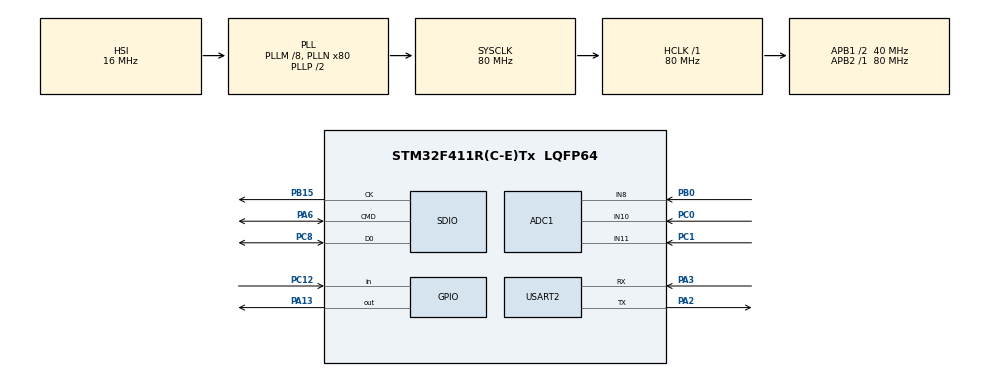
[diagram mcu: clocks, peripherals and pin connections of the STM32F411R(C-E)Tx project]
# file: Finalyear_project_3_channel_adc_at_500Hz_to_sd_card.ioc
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ADC1.Channel-2\#ChannelRegularConversion=ADC_CHANNEL_10
ADC1.Channel-3\#ChannelRegularConversion=ADC_CHANNEL_11
ADC1.Channel-4\#ChannelRegularConversion=ADC_CHANNEL_8
ADC1.ClockPrescaler=ADC_CLOCK_SYNC_PCLK_DIV4
ADC1.DMAContinuousRequests=ENABLE
ADC1.EOCSelection=ADC_EOC_SEQ_CONV
ADC1.ExternalTrigConv=ADC_EXTERNALTRIGCONV_T3_TRGO
ADC1.NbrOfConversion=3
ADC1.NbrOfConversionFlag=1
ADC1.Rank-2\#ChannelRegularConversion=1
ADC1.Rank-3\#ChannelRegularConversion=2
ADC1.Rank-4\#ChannelRegularConversion=3
ADC1.SamplingTime-2\#ChannelRegularConversion=ADC_SAMPLETIME_3CYCLES
ADC1.SamplingTime-3\#ChannelRegularConversion=ADC_SAMPLETIME_3CYCLES
ADC1.SamplingTime-4\#ChannelRegularConversion=ADC_SAMPLETIME_3CYCLES
ADC1.ScanConvMode=ENABLE
ADC1.master=1
Dma.ADC1.0.Direction=DMA_PERIPH_TO_MEMORY
Dma.ADC1.0.FIFOMode=DMA_FIFOMODE_DISABLE
Dma.ADC1.0.Instance=DMA2_Stream0
Dma.ADC1.0.MemDataAlignment=DMA_MDATAALIGN_HALFWORD
Dma.ADC1.0.MemInc=DMA_MINC_ENABLE
Dma.ADC1.0.Mode=DMA_CIRCULAR
Dma.ADC1.0.PeriphDataAlignment=DMA_PDATAALIGN_HALFWORD
Dma.ADC1.0.PeriphInc=DMA_PINC_DISABLE
Dma.ADC1.0.Priority=DMA_PRIORITY_LOW
Dma.Request0=ADC1
Dma.Request1=SDIO_TX
Dma.Request2=SDIO_RX
Dma.SDIO_RX.2.Direction=DMA_PERIPH_TO_MEMORY
Dma.SDIO_RX.2.FIFOMode=DMA_FIFOMODE_ENABLE
Dma.SDIO_RX.2.FIFOThreshold=DMA_FIFO_THRESHOLD_FULL
Dma.SDIO_RX.2.Instance=DMA2_Stream6
Dma.SDIO_RX.2.MemBurst=DMA_MBURST_INC4
Dma.SDIO_RX.2.MemDataAlignment=DMA_MDATAALIGN_WORD
Dma.SDIO_RX.2.MemInc=DMA_MINC_ENABLE
Dma.SDIO_RX.2.Mode=DMA_PFCTRL
Dma.SDIO_RX.2.PeriphBurst=DMA_PBURST_INC4
Dma.SDIO_RX.2.PeriphDataAlignment=DMA_PDATAALIGN_WORD
Dma.SDIO_RX.2.PeriphInc=DMA_PINC_DISABLE
Dma.SDIO_RX.2.Priority=DMA_PRIORITY_LOW
Dma.SDIO_TX.1.Direction=DMA_MEMORY_TO_PERIPH
Dma.SDIO_TX.1.FIFOMode=DMA_FIFOMODE_ENABLE
Dma.SDIO_TX.1.FIFOThreshold=DMA_FIFO_THRESHOLD_FULL
Dma.SDIO_TX.1.Instance=DMA2_Stream3
Dma.SDIO_TX.1.MemBurst=DMA_MBURST_INC4
Dma.SDIO_TX.1.MemDataAlignment=DMA_MDATAALIGN_WORD
Dma.SDIO_TX.1.MemInc=DMA_MINC_ENABLE
Dma.SDIO_TX.1.Mode=DMA_PFCTRL
Dma.SDIO_TX.1.PeriphBurst=DMA_PBURST_INC4
Dma.SDIO_TX.1.PeriphDataAlignment=DMA_PDATAALIGN_WORD
Dma.SDIO_TX.1.PeriphInc=DMA_PINC_DISABLE
Dma.SDIO_TX.1.Priority=DMA_PRIORITY_LOW
FATFS.BSP.number=1
FATFS._FS_LOCK=3
FATFS._MAX_SS=4096
FATFS._USE_LFN=3
FATFS0.BSP.STBoard=false
FATFS0.BSP.api=Unknown
FATFS0.BSP.instance=PC12
FATFS0.BSP.ip=GPIO
FATFS0.BSP.mode=Input
FATFS0.BSP.name=Detect_SDIO
FATFS0.BSP.solution=PC12
Mcu.Family=STM32F4
Mcu.Name=STM32F411R(C-E)Tx
Mcu.Package=LQFP64
NVIC.ADC_IRQn=true\:0\:0\:false\:false\:true\:true\:true\:true
NVIC.DMA2_Stream0_IRQn=true\:0\:0\:false\:false\:true\:false\:true\:true
NVIC.DMA2_Stream3_IRQn=true\:0\:0\:false\:false\:true\:false\:true\:true
NVIC.DMA2_Stream6_IRQn=true\:0\:0\:false\:false\:true\:false\:true\:true
NVIC.PriorityGroup=NVIC_PRIORITYGROUP_4
NVIC.SDIO_IRQn=true\:0\:0\:false\:false\:true\:true\:true\:true
NVIC.TIM3_IRQn=true\:0\:0\:false\:false\:true\:true\:true\:true
PA13.Signal=GPIO_Output
PA2.Mode=Asynchronous
PA2.Signal=USART2_TX
PA3.Mode=Asynchronous
PA3.Signal=USART2_RX
PA6.Mode=SD_1_bit
PA6.Signal=SDIO_CMD
PB0.Signal=ADCx_IN8
PB15.Mode=SD_1_bit
PB15.Signal=SDIO_CK
PC0.Signal=ADCx_IN10
PC1.Signal=ADCx_IN11
PC12.Signal=GPIO_Input
PC8.Mode=SD_1_bit
PC8.Signal=SDIO_D0
ProjectManager.HeapSize=0x200
ProjectManager.StackSize=0x400
ProjectManager.TargetToolchain=STM32CubeIDE
RCC.48MHZClocksFreq_Value=40000000
RCC.AHBFreq_Value=80000000
RCC.APB1CLKDivider=RCC_HCLK_DIV2
RCC.APB1Freq_Value=40000000
RCC.APB1TimFreq_Value=80000000
RCC.APB2Freq_Value=80000000
RCC.APB2TimFreq_Value=80000000
RCC.CortexFreq_Value=80000000
RCC.HCLKFreq_Value=80000000
RCC.HSE_VALUE=25000000
RCC.HSI_VALUE=16000000
RCC.LSE_VALUE=32768
RCC.PLLM=8
RCC.PLLN=80
RCC.SYSCLKFreq_VALUE=80000000
RCC.SYSCLKSource=RCC_SYSCLKSOURCE_PLLCLK
RCC.VCOOutputFreq_Value=160000000
SDIO.ClockDiv=10
SH.ADCx_IN10.0=ADC1_IN10,IN10
SH.ADCx_IN11.0=ADC1_IN11,IN11
SH.ADCx_IN8.0=ADC1_IN8,IN8
TIM3.Channel-PWM\ Generation1\ No\ Output=TIM_CHANNEL_1
TIM3.Period=19
TIM3.Prescaler=7980
TIM3.TIM_MasterOutputTrigger=TIM_TRGO_UPDATE
USART2.VirtualMode=VM_ASYNC
VP_FATFS_VS_SDIO.Mode=SDIO
VP_TIM3_VS_no_output1.Mode=PWM Generation1 No Output
board=custom

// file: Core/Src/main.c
/* USER CODE BEGIN Header */
/**
This is the code to obtain 3 channel adc data at fixed sampling frequency 500hz
and store it in three seperate file named ch1, ch2 and ch3, for every 3 second.
  */
/* USER CODE END Header */
#include "main.h"
#include "fatfs.h"

/* USER CODE BEGIN Includes */
#include <string.h>
#include <stdio.h>
/* USER CODE END Includes */

ADC_HandleTypeDef hadc1;
DMA_HandleTypeDef hdma_adc1;

SD_HandleTypeDef hsd;
DMA_HandleTypeDef hdma_sdio_tx;
DMA_HandleTypeDef hdma_sdio_rx;

TIM_HandleTypeDef htim3;

UART_HandleTypeDef huart2;

/* USER CODE BEGIN PV */
FIL file_A,file_B, file_C;
FATFS fs;
UINT bw;
char line[32];
/* USER CODE END PV */

void SystemClock_Config(void);
static void MX_GPIO_Init(void);
static void MX_DMA_Init(void);
static void MX_ADC1_Init(void);
static void MX_SDIO_SD_Init(void);
static void MX_TIM3_Init(void);
static void MX_USART2_UART_Init(void);
/* USER CODE BEGIN PFP */
#define BUFFER_SIZE 4500 /* to store 5 second data */
uint16_t adc_buffer_A[BUFFER_SIZE];
uint16_t adc_buffer_B[BUFFER_SIZE];
volatile uint16_t write_index = 0;
volatile uint8_t buffer_full = 0;
volatile uint8_t ready_A = 1;
volatile uint8_t ready_B = 1;
uint8_t flag_buffer_selector = 00;
/* USER CODE END PFP */

int main(void)
{

  /* MCU Configuration--------------------------------------------------------*/

  /* Reset of all peripherals, Initializes the Flash interface and the Systick. */
  HAL_Init();

  /* Configure the system clock */
  SystemClock_Config();

  /* Initialize all configured peripherals */
  MX_GPIO_Init();
  MX_DMA_Init();
  MX_ADC1_Init();
  MX_SDIO_SD_Init();
  MX_TIM3_Init();
  MX_FATFS_Init();
  MX_USART2_UART_Init();
  /* USER CODE BEGIN 2 */
  /* Mount SD Card */
   if (f_mount(&fs, "", 1) != FR_OK) {
     Error_Handler(); // Handle error (LED blink, etc.)
   }

   /* Open File */
   if (f_open(&file_A, "CH1.txt", FA_WRITE | FA_CREATE_ALWAYS) != FR_OK) {
     Error_Handler();
   }
   if (f_open(&file_B, "CH2.txt", FA_WRITE | FA_CREATE_ALWAYS) != FR_OK) {
        Error_Handler();
      }
   if (f_open(&file_C, "CH3.txt", FA_WRITE | FA_CREATE_ALWAYS) != FR_OK) {
        Error_Handler();
      }
   /* Start ADC and Timer */
     HAL_ADC_Start_DMA(&hadc1, (uint32_t*)adc_buffer_A,BUFFER_SIZE );

   // start pwm generation
   if(HAL_TIM_PWM_Start(&htim3, TIM_CHANNEL_1) != HAL_OK)
 	  Error_Handler();
  /* USER CODE END 2 */

  /* Infinite loop */
  /* USER CODE BEGIN WHILE */
  while (1)
  {
	 /* HAL_UART_Transmit(&huart2, (uint8_t*)"while loop start \n", 18, HAL_MAX_DELAY);*/
		  if(flag_buffer_selector == 10 && ready_A == 1) {

			  HAL_UART_Transmit(&huart2, (uint8_t*)"writting_blk_A \n", 16, HAL_MAX_DELAY);
		  	  	        for (int i = 0; i <= BUFFER_SIZE - 3; i = i + 3) {
		  		  	          sprintf(line, "%u\r\n", adc_buffer_A[i]);
		  		  	          f_write(&file_A, line, strlen(line), &bw);
		  		  	          sprintf(line, "%u\r\n", adc_buffer_A[i+1]);
		  		  	          f_write(&file_B, line, strlen(line), &bw);
		  		  	          sprintf(line, "%u\r\n", adc_buffer_A[i+2]);
		  		  	          f_write(&file_C, line, strlen(line), &bw);
		  	  	        }
		  	  	      /*  HAL_UART_Transmit(&huart2, (uint8_t*)"success2....\n", 20, HAL_MAX_DELAY);*/
		  	  	        f_sync(&file_A); // Flush to SD card
		  	  	        f_sync(&file_B);
		  	  	     	f_sync(&file_C);
		  	  	    ready_A = 0;
		  	  	    ready_B = 1;
		  	  	    }

		  else if (flag_buffer_selector == 01 && ready_B == 1 ) {
			  HAL_UART_Transmit(&huart2, (uint8_t*)"writting_blk_B \n", 16, HAL_MAX_DELAY);

		  	        for (int i = 0; i <= BUFFER_SIZE - 3; i = i + 3) {
			  	          sprintf(line, "%u\r\n", adc_buffer_B[i]);
			  	          f_write(&file_A, line, strlen(line), &bw);
			  	          sprintf(line, "%u\r\n", adc_buffer_B[i+1]);
			  	          f_write(&file_B, line, strlen(line), &bw);
			  	          sprintf(line, "%u\r\n", adc_buffer_B[i+2]);
			  	          f_write(&file_C, line, strlen(line), &bw);
		  	        }
		  	      /*  HAL_UART_Transmit(&huart2, (uint8_t*)"success2....\n", 20, HAL_MAX_DELAY);*/
		  	        f_sync(&file_A); // Flush to SD card
		  	        f_sync(&file_B);
		  	     	f_sync(&file_C);
		  	  	    ready_A = 1;
		  	  	    ready_B = 0;
	  }

    /* USER CODE END WHILE */

  }
}

void SystemClock_Config(void)
{
  RCC_OscInitTypeDef RCC_OscInitStruct = {0};
  RCC_ClkInitTypeDef RCC_ClkInitStruct = {0};

  /** Configure the main internal regulator output voltage
  */
  __HAL_RCC_PWR_CLK_ENABLE();
  __HAL_PWR_VOLTAGESCALING_CONFIG(PWR_REGULATOR_VOLTAGE_SCALE1);

  /** Initializes the RCC Oscillators according to the specified parameters
  * in the RCC_OscInitTypeDef structure.
  */
  RCC_OscInitStruct.OscillatorType = RCC_OSCILLATORTYPE_HSI;
  RCC_OscInitStruct.HSIState = RCC_HSI_ON;
  RCC_OscInitStruct.HSICalibrationValue = RCC_HSICALIBRATION_DEFAULT;
  RCC_OscInitStruct.PLL.PLLState = RCC_PLL_ON;
  RCC_OscInitStruct.PLL.PLLSource = RCC_PLLSOURCE_HSI;
  RCC_OscInitStruct.PLL.PLLM = 8;
  RCC_OscInitStruct.PLL.PLLN = 80;
  RCC_OscInitStruct.PLL.PLLP = RCC_PLLP_DIV2;
  RCC_OscInitStruct.PLL.PLLQ = 4;
  if (HAL_RCC_OscConfig(&RCC_OscInitStruct) != HAL_OK)
  {
    Error_Handler();
  }

  /** Initializes the CPU, AHB and APB buses clocks
  */
  RCC_ClkInitStruct.ClockType = RCC_CLOCKTYPE_HCLK|RCC_CLOCKTYPE_SYSCLK
                              |RCC_CLOCKTYPE_PCLK1|RCC_CLOCKTYPE_PCLK2;
  RCC_ClkInitStruct.SYSCLKSource = RCC_SYSCLKSOURCE_PLLCLK;
  RCC_ClkInitStruct.AHBCLKDivider = RCC_SYSCLK_DIV1;
  RCC_ClkInitStruct.APB1CLKDivider = RCC_HCLK_DIV2;
  RCC_ClkInitStruct.APB2CLKDivider = RCC_HCLK_DIV1;

  if (HAL_RCC_ClockConfig(&RCC_ClkInitStruct, FLASH_LATENCY_2) != HAL_OK)
  {
    Error_Handler();
  }
}

static void MX_ADC1_Init(void)
{

  ADC_ChannelConfTypeDef sConfig = {0};

  /** Configure the global features of the ADC (Clock, Resolution, Data Alignment and number of conversion)
  */
  hadc1.Instance = ADC1;
  hadc1.Init.ClockPrescaler = ADC_CLOCK_SYNC_PCLK_DIV4;
  hadc1.Init.Resolution = ADC_RESOLUTION_12B;
  hadc1.Init.ScanConvMode = ENABLE;
  hadc1.Init.ContinuousConvMode = DISABLE;
  hadc1.Init.DiscontinuousConvMode = DISABLE;
  hadc1.Init.ExternalTrigConvEdge = ADC_EXTERNALTRIGCONVEDGE_RISING;
  hadc1.Init.ExternalTrigConv = ADC_EXTERNALTRIGCONV_T3_TRGO;
  hadc1.Init.DataAlign = ADC_DATAALIGN_RIGHT;
  hadc1.Init.NbrOfConversion = 3;
  hadc1.Init.DMAContinuousRequests = ENABLE;
  hadc1.Init.EOCSelection = ADC_EOC_SEQ_CONV;
  if (HAL_ADC_Init(&hadc1) != HAL_OK)
  {
    Error_Handler();
  }

  /** Configure for the selected ADC regular channel its corresponding rank in the sequencer and its sample time.
  */
  sConfig.Channel = ADC_CHANNEL_10;
  sConfig.Rank = 1;
  sConfig.SamplingTime = ADC_SAMPLETIME_3CYCLES;
  if (HAL_ADC_ConfigChannel(&hadc1, &sConfig) != HAL_OK)
  {
    Error_Handler();
  }

  /** Configure for the selected ADC regular channel its corresponding rank in the sequencer and its sample time.
  */
  sConfig.Channel = ADC_CHANNEL_11;
  sConfig.Rank = 2;
  if (HAL_ADC_ConfigChannel(&hadc1, &sConfig) != HAL_OK)
  {
    Error_Handler();
  }

  /** Configure for the selected ADC regular channel its corresponding rank in the sequencer and its sample time.
  */
  sConfig.Channel = ADC_CHANNEL_8;
  sConfig.Rank = 3;
  if (HAL_ADC_ConfigChannel(&hadc1, &sConfig) != HAL_OK)
  {
    Error_Handler();
  }

}

static void MX_SDIO_SD_Init(void)
{

  hsd.Instance = SDIO;
  hsd.Init.ClockEdge = SDIO_CLOCK_EDGE_RISING;
  hsd.Init.ClockBypass = SDIO_CLOCK_BYPASS_DISABLE;
  hsd.Init.ClockPowerSave = SDIO_CLOCK_POWER_SAVE_DISABLE;
  hsd.Init.BusWide = SDIO_BUS_WIDE_1B;
  hsd.Init.HardwareFlowControl = SDIO_HARDWARE_FLOW_CONTROL_DISABLE;
  hsd.Init.ClockDiv = 10;

}

static void MX_TIM3_Init(void)
{

  TIM_MasterConfigTypeDef sMasterConfig = {0};
  TIM_OC_InitTypeDef sConfigOC = {0};

  htim3.Instance = TIM3;
  htim3.Init.Prescaler = 7980;
  htim3.Init.CounterMode = TIM_COUNTERMODE_UP;
  htim3.Init.Period = 19;
  htim3.Init.ClockDivision = TIM_CLOCKDIVISION_DIV1;
  htim3.Init.AutoReloadPreload = TIM_AUTORELOAD_PRELOAD_DISABLE;
  if (HAL_TIM_PWM_Init(&htim3) != HAL_OK)
  {
    Error_Handler();
  }
  sMasterConfig.MasterOutputTrigger = TIM_TRGO_UPDATE;
  sMasterConfig.MasterSlaveMode = TIM_MASTERSLAVEMODE_DISABLE;
  if (HAL_TIMEx_MasterConfigSynchronization(&htim3, &sMasterConfig) != HAL_OK)
  {
    Error_Handler();
  }
  sConfigOC.OCMode = TIM_OCMODE_PWM1;
  sConfigOC.Pulse = 0;
  sConfigOC.OCPolarity = TIM_OCPOLARITY_HIGH;
  sConfigOC.OCFastMode = TIM_OCFAST_DISABLE;
  if (HAL_TIM_PWM_ConfigChannel(&htim3, &sConfigOC, TIM_CHANNEL_1) != HAL_OK)
  {
    Error_Handler();
  }

}

static void MX_USART2_UART_Init(void)
{

  huart2.Instance = USART2;
  huart2.Init.BaudRate = 115200;
  huart2.Init.WordLength = UART_WORDLENGTH_8B;
  huart2.Init.StopBits = UART_STOPBITS_1;
  huart2.Init.Parity = UART_PARITY_NONE;
  huart2.Init.Mode = UART_MODE_TX_RX;
  huart2.Init.HwFlowCtl = UART_HWCONTROL_NONE;
  huart2.Init.OverSampling = UART_OVERSAMPLING_16;
  if (HAL_UART_Init(&huart2) != HAL_OK)
  {
    Error_Handler();
  }

}

static void MX_DMA_Init(void)
{

  /* DMA controller clock enable */
  __HAL_RCC_DMA2_CLK_ENABLE();

  /* DMA interrupt init */
  /* DMA2_Stream0_IRQn interrupt configuration */
  HAL_NVIC_SetPriority(DMA2_Stream0_IRQn, 0, 0);
  HAL_NVIC_EnableIRQ(DMA2_Stream0_IRQn);
  /* DMA2_Stream3_IRQn interrupt configuration */
  HAL_NVIC_SetPriority(DMA2_Stream3_IRQn, 0, 0);
  HAL_NVIC_EnableIRQ(DMA2_Stream3_IRQn);
  /* DMA2_Stream6_IRQn interrupt configuration */
  HAL_NVIC_SetPriority(DMA2_Stream6_IRQn, 0, 0);
  HAL_NVIC_EnableIRQ(DMA2_Stream6_IRQn);

}

static void MX_GPIO_Init(void)
{
  GPIO_InitTypeDef GPIO_InitStruct = {0};

  /* GPIO Ports Clock Enable */
  __HAL_RCC_GPIOC_CLK_ENABLE();
  __HAL_RCC_GPIOA_CLK_ENABLE();
  __HAL_RCC_GPIOB_CLK_ENABLE();

  /*Configure GPIO pin Output Level */
  HAL_GPIO_WritePin(GPIOA, GPIO_PIN_13, GPIO_PIN_RESET);

  /*Configure GPIO pin : PA13 */
  GPIO_InitStruct.Pin = GPIO_PIN_13;
  GPIO_InitStruct.Mode = GPIO_MODE_OUTPUT_PP;
  GPIO_InitStruct.Pull = GPIO_NOPULL;
  GPIO_InitStruct.Speed = GPIO_SPEED_FREQ_LOW;
  HAL_GPIO_Init(GPIOA, &GPIO_InitStruct);

  /*Configure GPIO pin : PC12 */
  GPIO_InitStruct.Pin = GPIO_PIN_12;
  GPIO_InitStruct.Mode = GPIO_MODE_INPUT;
  GPIO_InitStruct.Pull = GPIO_NOPULL;
  HAL_GPIO_Init(GPIOC, &GPIO_InitStruct);

}

/* USER CODE BEGIN 4 */
void HAL_ADC_ConvCpltCallback(ADC_HandleTypeDef* hadc) {
  if (flag_buffer_selector == 00 || flag_buffer_selector == 01) {
	  HAL_UART_Transmit(&huart2, (uint8_t*)"Buffer_A_filled \n", 17, HAL_MAX_DELAY);
  	HAL_ADC_Stop_DMA(&hadc1);
  	HAL_ADC_Start_DMA(&hadc1, (uint32_t*)adc_buffer_B,BUFFER_SIZE);
  	flag_buffer_selector =10;
  }

  else {
	  HAL_UART_Transmit(&huart2, (uint8_t*)"buffer_B_filled \n", 17, HAL_MAX_DELAY);
	  	HAL_ADC_Stop_DMA(&hadc1);
	  	HAL_ADC_Start_DMA(&hadc1, (uint32_t*)adc_buffer_A,BUFFER_SIZE);
	    flag_buffer_selector = 01;

	    }

    HAL_GPIO_TogglePin(GPIOA, GPIO_PIN_13); // Optional debug LED toggle
}

/* USER CODE END 4 */

void Error_Handler(void)
{
  __disable_irq();
  while (1)
  {
  }
}
